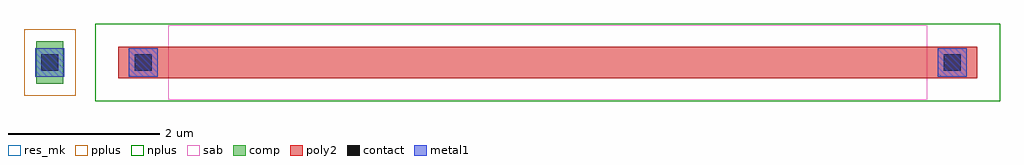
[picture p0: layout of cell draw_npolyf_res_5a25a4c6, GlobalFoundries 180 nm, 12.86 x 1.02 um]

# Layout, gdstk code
import gdstk
lib = gdstk.Library(unit=1e-6, precision=1e-09)
def R(c, l, rs):  # rectangles x0, y0, x1, y1
    for r in rs: c.add(gdstk.rectangle(r[:2], r[2:], *l))
comp = (22, 0)
poly2 = (30, 0)
pplus = (31, 0)
nplus = (32, 0)
contact = (33, 0)
metal1 = (34, 0)
sab = (49, 0)
res_mk = (110, 5)

draw_npolyf_res_5a25a4c6 = lib.new_cell('draw_npolyf_res_5a25a4c6')
R(draw_npolyf_res_5a25a4c6, comp, [(-1.74,-0.07,-1.38,0.49)])
R(draw_npolyf_res_5a25a4c6, poly2, [(-0.66,0,10.66,0.42)])
R(draw_npolyf_res_5a25a4c6, pplus, [(-1.9,-0.23,-1.22,0.65)])
R(draw_npolyf_res_5a25a4c6, nplus, [(-0.96,-0.3,10.96,0.72)])
R(draw_npolyf_res_5a25a4c6, contact, [(-1.67,0.1,-1.45,0.32), (-0.44,0.1,-0.22,0.32), (10.22,0.1,10.44,0.32)])
R(draw_npolyf_res_5a25a4c6, metal1, [(-1.75,0.02,-1.37,0.4), (-0.52,0.02,-0.14,0.4), (10.14,0.02,10.52,0.4)])
R(draw_npolyf_res_5a25a4c6, sab, [(0,-0.28,10,0.7)])
R(draw_npolyf_res_5a25a4c6, res_mk, [(0,0,10,0.42)])

lib.write_gds('draw_npolyf_res_5a25a4c6.gds')
